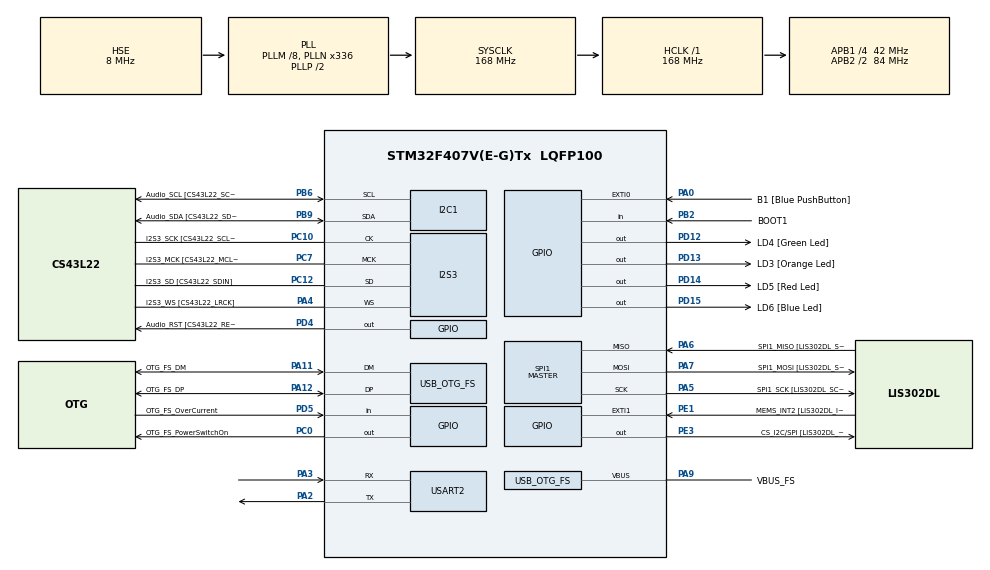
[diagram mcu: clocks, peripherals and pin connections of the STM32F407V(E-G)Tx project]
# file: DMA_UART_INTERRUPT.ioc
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I2S3.AudioFreq-Half_Duplex_Master=I2S_AUDIOFREQ_96K
I2S3.ErrorAudioFreq=-2.34 %
I2S3.ErrorAudioFreq-Half_Duplex_Master=0.8 %
I2S3.FullDuplexMode=I2S_FULLDUPLEXMODE_DISABLE
I2S3.Instance=SPI$Index
I2S3.RealAudioFreq=93.75 KHz
I2S3.RealAudioFreq-Half_Duplex_Master=96.774 KHz
I2S3.VirtualMode=I2S_MODE_MASTER
Mcu.Family=STM32F4
Mcu.Name=STM32F407V(E-G)Tx
Mcu.Package=LQFP100
NVIC.OTG_FS_IRQn=true\:0\:0\:false\:false\:true\:true\:true\:true
NVIC.PriorityGroup=NVIC_PRIORITYGROUP_0
PA0-WKUP.GPIO_Label=B1 [Blue PushButton]
PA0-WKUP.GPIO_ModeDefaultEXTI=GPIO_MODE_EVT_RISING
PA0-WKUP.GPIO_PuPd=GPIO_NOPULL
PA0-WKUP.Signal=GPXTI0
PA10.GPIO_Label=OTG_FS_ID
PA10.GPIO_Mode=GPIO_MODE_AF_PP
PA10.GPIO_PuPd=GPIO_NOPULL
PA10.GPIO_Speed=GPIO_SPEED_FREQ_LOW
PA10.Signal=USB_OTG_FS_ID
PA11.GPIO_Label=OTG_FS_DM
PA11.GPIO_Mode=GPIO_MODE_AF_PP
PA11.GPIO_PuPd=GPIO_NOPULL
PA11.GPIO_Speed=GPIO_SPEED_FREQ_LOW
PA11.Mode=Host_Only
PA11.Signal=USB_OTG_FS_DM
PA12.GPIO_Label=OTG_FS_DP
PA12.GPIO_Mode=GPIO_MODE_AF_PP
PA12.GPIO_PuPd=GPIO_NOPULL
PA12.GPIO_Speed=GPIO_SPEED_FREQ_LOW
PA12.Mode=Host_Only
PA12.Signal=USB_OTG_FS_DP
PA13.GPIO_Label=SWDIO
PA13.Mode=Serial_Wire
PA13.Signal=SYS_JTMS-SWDIO
PA14.GPIO_Label=SWCLK
PA14.Mode=Serial_Wire
PA14.Signal=SYS_JTCK-SWCLK
PA2.Mode=Asynchronous
PA2.Signal=USART2_TX
PA3.Mode=Asynchronous
PA3.Signal=USART2_RX
PA4.GPIO_Label=I2S3_WS [CS43L22_LRCK]
PA4.GPIO_Mode=GPIO_MODE_AF_PP
PA4.GPIO_PuPd=GPIO_NOPULL
PA4.GPIO_Speed=GPIO_SPEED_FREQ_LOW
PA4.Mode=Half_Duplex_Master
PA4.Signal=I2S3_WS
PA5.GPIO_Label=SPI1_SCK [LIS302DL_SCL/SPC]
PA5.GPIO_Mode=GPIO_MODE_AF_PP
PA5.GPIO_PuPd=GPIO_NOPULL
PA5.GPIO_Speed=GPIO_SPEED_FREQ_LOW
PA5.Mode=Full_Duplex_Master
PA5.Signal=SPI1_SCK
PA6.GPIO_Label=SPI1_MISO [LIS302DL_SDO]
PA6.GPIO_Mode=GPIO_MODE_AF_PP
PA6.GPIO_PuPd=GPIO_NOPULL
PA6.GPIO_Speed=GPIO_SPEED_FREQ_LOW
PA6.Mode=Full_Duplex_Master
PA6.Signal=SPI1_MISO
PA7.GPIO_Label=SPI1_MOSI [LIS302DL_SDA/SDI/SDO]
PA7.GPIO_Mode=GPIO_MODE_AF_PP
PA7.GPIO_PuPd=GPIO_NOPULL
PA7.GPIO_Speed=GPIO_SPEED_FREQ_LOW
PA7.Mode=Full_Duplex_Master
PA7.Signal=SPI1_MOSI
PA9.GPIO_Label=VBUS_FS
PA9.GPIO_Mode=GPIO_MODE_INPUT
PA9.GPIO_PuPd=GPIO_NOPULL
PA9.Mode=Activate_VBUS
PA9.Signal=USB_OTG_FS_VBUS
PB10.GPIO_Label=CLK_IN [MP45DT02_CLK]
PB10.GPIO_Mode=GPIO_MODE_AF_PP
PB10.GPIO_PuPd=GPIO_NOPULL
PB10.GPIO_Speed=GPIO_SPEED_FREQ_LOW
PB10.Signal=I2S2_CK
PB2.GPIO_Label=BOOT1
PB2.GPIO_Mode=GPIO_MODE_INPUT
PB2.GPIO_PuPd=GPIO_NOPULL
PB2.Signal=GPIO_Input
PB3.GPIO_Label=SWO
PB3.Signal=SYS_JTDO-SWO
PB6.GPIO_Label=Audio_SCL [CS43L22_SCL]
PB6.GPIO_Mode=GPIO_MODE_AF_OD
PB6.GPIO_Pu=GPIO_PULLUP
PB6.GPIO_PuPd=GPIO_NOPULL
PB6.GPIO_Speed=GPIO_SPEED_FREQ_LOW
PB6.Mode=I2C
PB6.Signal=I2C1_SCL
PB9.GPIO_Label=Audio_SDA [CS43L22_SDA]
PB9.GPIO_Mode=GPIO_MODE_AF_OD
PB9.GPIO_Pu=GPIO_PULLUP
PB9.GPIO_PuPd=GPIO_NOPULL
PB9.GPIO_Speed=GPIO_SPEED_FREQ_LOW
PB9.Mode=I2C
PB9.Signal=I2C1_SDA
PC0.GPIO_Label=OTG_FS_PowerSwitchOn
PC0.GPIO_PuPd=GPIO_NOPULL
PC0.GPIO_Speed=GPIO_SPEED_FREQ_LOW
PC0.PinState=GPIO_PIN_SET
PC0.Signal=GPIO_Output
PC10.GPIO_Label=I2S3_SCK [CS43L22_SCLK]
PC10.GPIO_Mode=GPIO_MODE_AF_PP
PC10.GPIO_PuPd=GPIO_NOPULL
PC10.GPIO_Speed=GPIO_SPEED_FREQ_LOW
PC10.Mode=Half_Duplex_Master
PC10.Signal=I2S3_CK
PC12.GPIO_Label=I2S3_SD [CS43L22_SDIN]
PC12.GPIO_Mode=GPIO_MODE_AF_PP
PC12.GPIO_PuPd=GPIO_NOPULL
PC12.GPIO_Speed=GPIO_SPEED_FREQ_LOW
PC12.Mode=Half_Duplex_Master
PC12.Signal=I2S3_SD
PC14-OSC32_IN.GPIO_Label=PC14-OSC32_IN
PC14-OSC32_IN.Mode=LSE-External-Oscillator
PC14-OSC32_IN.Signal=RCC_OSC32_IN
PC15-OSC32_OUT.GPIO_Label=PC15-OSC32_OUT
PC15-OSC32_OUT.Mode=LSE-External-Oscillator
PC15-OSC32_OUT.Signal=RCC_OSC32_OUT
PC3.GPIO_Label=PDM_OUT [MP45DT02_DOUT]
PC3.GPIO_Mode=GPIO_MODE_AF_PP
PC3.GPIO_PuPd=GPIO_NOPULL
PC3.GPIO_Speed=GPIO_SPEED_FREQ_LOW
PC3.Signal=I2S2_SD
PC7.GPIO_Label=I2S3_MCK [CS43L22_MCLK]
PC7.GPIO_Mode=GPIO_MODE_AF_PP
PC7.GPIO_PuPd=GPIO_NOPULL
PC7.GPIO_Speed=GPIO_SPEED_FREQ_LOW
PC7.Mode=Master_Clock_Activated
PC7.Signal=I2S3_MCK
PD12.GPIO_Label=LD4 [Green Led]
PD12.GPIO_PuPd=GPIO_NOPULL
PD12.GPIO_Speed=GPIO_SPEED_FREQ_LOW
PD12.Signal=GPIO_Output
PD13.GPIO_Label=LD3 [Orange Led]
PD13.GPIO_PuPd=GPIO_NOPULL
PD13.GPIO_Speed=GPIO_SPEED_FREQ_LOW
PD13.Signal=GPIO_Output
PD14.GPIO_Label=LD5 [Red Led]
PD14.GPIO_PuPd=GPIO_NOPULL
PD14.GPIO_Speed=GPIO_SPEED_FREQ_LOW
PD14.Signal=GPIO_Output
PD15.GPIO_Label=LD6 [Blue Led]
PD15.GPIO_PuPd=GPIO_NOPULL
PD15.GPIO_Speed=GPIO_SPEED_FREQ_LOW
PD15.Signal=GPIO_Output
PD4.GPIO_Label=Audio_RST [CS43L22_RESET]
PD4.GPIO_PuPd=GPIO_NOPULL
PD4.GPIO_Speed=GPIO_SPEED_FREQ_LOW
PD4.Signal=GPIO_Output
PD5.GPIO_Label=OTG_FS_OverCurrent
PD5.GPIO_Mode=GPIO_MODE_INPUT
PD5.GPIO_PuPd=GPIO_NOPULL
PD5.Signal=GPIO_Input
PE1.GPIO_Label=MEMS_INT2 [LIS302DL_INT2]
PE1.GPIO_ModeDefaultEXTI=GPIO_MODE_EVT_RISING
PE1.GPIO_PuPd=GPIO_NOPULL
PE1.Signal=GPXTI1
PE3.GPIO_Label=CS_I2C/SPI [LIS302DL_CS_I2C/SPI]
PE3.GPIO_PuPd=GPIO_NOPULL
PE3.GPIO_Speed=GPIO_SPEED_FREQ_LOW
PE3.Signal=GPIO_Output
PH0-OSC_IN.GPIO_Label=PH0-OSC_IN
PH0-OSC_IN.Mode=HSE-External-Oscillator
PH0-OSC_IN.Signal=RCC_OSC_IN
PH1-OSC_OUT.GPIO_Label=PH1-OSC_OUT
PH1-OSC_OUT.Mode=HSE-External-Oscillator
PH1-OSC_OUT.Signal=RCC_OSC_OUT
ProjectManager.HeapSize=0x200
ProjectManager.StackSize=0x400
ProjectManager.TargetToolchain=STM32CubeIDE
RCC.48MHZClocksFreq_Value=48000000
RCC.AHBFreq_Value=168000000
RCC.APB1CLKDivider=RCC_HCLK_DIV4
RCC.APB1Freq_Value=42000000
RCC.APB1TimFreq_Value=84000000
RCC.APB2CLKDivider=RCC_HCLK_DIV2
RCC.APB2Freq_Value=84000000
RCC.APB2TimFreq_Value=168000000
RCC.CortexFreq_Value=168000000
RCC.HCLKFreq_Value=168000000
RCC.HSE_VALUE=8000000
RCC.HSI_VALUE=16000000
RCC.PLLM=8
RCC.PLLN=336
RCC.PLLQ=7
RCC.SYSCLKFreq_VALUE=168000000
RCC.SYSCLKSource=RCC_SYSCLKSOURCE_PLLCLK
RCC.VCOOutputFreq_Value=336000000
SPI1.BaudRatePrescaler-Full_Duplex_Master=SPI_BAUDRATEPRESCALER_2
SPI1.CalculateBaudRate-Full_Duplex_Master=42.0 MBits/s
SPI1.Direction=SPI_DIRECTION_2LINES
SPI1.Mode=SPI_MODE_MASTER
SPI1.Mode-Full_Duplex_Master=SPI_MODE_MASTER
SPI1.VirtualType=VM_MASTER
USART2.VirtualMode=VM_ASYNC
USB_HOST.BSP.number=1
USB_HOST.USBH_HandleTypeDef-CDC_FS=hUsbHostFS
USB_HOST.VirtualModeFS=Cdc
USB_HOST0.BSP.STBoard=false
USB_HOST0.BSP.api=Unknown
USB_HOST0.BSP.instance=PC0
USB_HOST0.BSP.ip=GPIO
USB_HOST0.BSP.mode=Output
USB_HOST0.BSP.name=Drive_VBUS_FS
USB_HOST0.BSP.solution=PC0
USB_OTG_FS.VirtualMode=Host_Only
USB_OTG_FS.phy_itface=HCD_PHY_EMBEDDED
VP_USB_HOST_VS_USB_HOST_CDC_FS.Mode=CDC_FS
board=STM32F407G-DISC1

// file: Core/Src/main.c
/* USER CODE BEGIN Header */
/**
  ******************************************************************************
  * @file           : main.c
  * @brief          : Main program body
  ******************************************************************************
  * @attention
  *
  * Copyright (c) 2026 STMicroelectronics.
  * All rights reserved.
  *
  * This software is licensed under terms that can be found in the LICENSE file
  * in the root directory of this software component.
  * If no LICENSE file comes with this software, it is provided AS-IS.
  *
  ******************************************************************************
  */
/* USER CODE END Header */
#include "main.h"
#include "usb_host.h"

/* USER CODE BEGIN Includes */
#include<string.h>
/* USER CODE END Includes */

I2C_HandleTypeDef hi2c1;

I2S_HandleTypeDef hi2s3;

SPI_HandleTypeDef hspi1;

UART_HandleTypeDef huart2;

/* USER CODE BEGIN PV */
DMA_HandleTypeDef hdma_usart2_tx;
char msg[] = "HELLO STM32";
/* USER CODE END PV */

void SystemClock_Config(void);
static void MX_GPIO_Init(void);
static void MX_I2C1_Init(void);
static void MX_I2S3_Init(void);
static void MX_SPI1_Init(void);
static void MX_USART2_UART_Init(void);
void MX_USB_HOST_Process(void);

/* USER CODE BEGIN PFP */
void DMATransferComplate(DMA_HandleTypeDef *hdma);
/* USER CODE END PFP */

int main(void)
{

  /* MCU Configuration--------------------------------------------------------*/

  /* Reset of all peripherals, Initializes the Flash interface and the Systick. */
  HAL_Init();

  /* Configure the system clock */
  SystemClock_Config();

  /* Initialize all configured peripherals */
  MX_GPIO_Init();

  MX_I2C1_Init();
  MX_I2S3_Init();
  MX_SPI1_Init();
  MX_USART2_UART_Init();
  MX_USB_HOST_Init();
  /* USER CODE BEGIN 2 */
__HAL_RCC_DMA1_CLK_ENABLE();
hdma_usart2_tx.Instance = DMA1_Stream6;
hdma_usart2_tx.Init.Channel = DMA_CHANNEL_4;
hdma_usart2_tx.Init.Direction = DMA_MEMORY_TO_PERIPH;
hdma_usart2_tx.Init.PeriphInc = DMA_PINC_DISABLE;
hdma_usart2_tx.Init.PeriphDataAlignment =DMA_PDATAALIGN_BYTE;
hdma_usart2_tx.Init.MemDataAlignment = DMA_MDATAALIGN_BYTE;
hdma_usart2_tx.Init.Mode = DMA_NORMAL;
hdma_usart2_tx.Init.Priority = DMA_PRIORITY_LOW;
hdma_usart2_tx.Init.FIFOMode = DMA_FIFOMODE_DISABLE;
hdma_usart2_tx.Init.MemInc = DMA_MINC_ENABLE;
hdma_usart2_tx.XferCpltCallback = DMATransferComplate;
HAL_DMA_Init(&hdma_usart2_tx);
HAL_NVIC_SetPriority(DMA1_Stream6_IRQn,0,0);
HAL_NVIC_EnableIRQ(DMA1_Stream6_IRQn);
HAL_DMA_Start_IT(&hdma_usart2_tx,(uint32_t)msg,(uint32_t)&huart2.Instance->DR,strlen(msg));
huart2.Instance->CR3 |= USART_CR3_DMAT;
  /* USER CODE END 2 */

  /* Infinite loop */
  while (1)
  {
    MX_USB_HOST_Process();

  }
}

void SystemClock_Config(void)
{
  RCC_OscInitTypeDef RCC_OscInitStruct = {0};
  RCC_ClkInitTypeDef RCC_ClkInitStruct = {0};

  /** Configure the main internal regulator output voltage
  */
  __HAL_RCC_PWR_CLK_ENABLE();
  __HAL_PWR_VOLTAGESCALING_CONFIG(PWR_REGULATOR_VOLTAGE_SCALE1);

  /** Initializes the RCC Oscillators according to the specified parameters
  * in the RCC_OscInitTypeDef structure.
  */
  RCC_OscInitStruct.OscillatorType = RCC_OSCILLATORTYPE_HSE;
  RCC_OscInitStruct.HSEState = RCC_HSE_ON;
  RCC_OscInitStruct.PLL.PLLState = RCC_PLL_ON;
  RCC_OscInitStruct.PLL.PLLSource = RCC_PLLSOURCE_HSE;
  RCC_OscInitStruct.PLL.PLLM = 8;
  RCC_OscInitStruct.PLL.PLLN = 336;
  RCC_OscInitStruct.PLL.PLLP = RCC_PLLP_DIV2;
  RCC_OscInitStruct.PLL.PLLQ = 7;
  if (HAL_RCC_OscConfig(&RCC_OscInitStruct) != HAL_OK)
  {
    Error_Handler();
  }

  /** Initializes the CPU, AHB and APB buses clocks
  */
  RCC_ClkInitStruct.ClockType = RCC_CLOCKTYPE_HCLK|RCC_CLOCKTYPE_SYSCLK
                              |RCC_CLOCKTYPE_PCLK1|RCC_CLOCKTYPE_PCLK2;
  RCC_ClkInitStruct.SYSCLKSource = RCC_SYSCLKSOURCE_PLLCLK;
  RCC_ClkInitStruct.AHBCLKDivider = RCC_SYSCLK_DIV1;
  RCC_ClkInitStruct.APB1CLKDivider = RCC_HCLK_DIV4;
  RCC_ClkInitStruct.APB2CLKDivider = RCC_HCLK_DIV2;

  if (HAL_RCC_ClockConfig(&RCC_ClkInitStruct, FLASH_LATENCY_5) != HAL_OK)
  {
    Error_Handler();
  }
}

static void MX_I2C1_Init(void)
{

  hi2c1.Instance = I2C1;
  hi2c1.Init.ClockSpeed = 100000;
  hi2c1.Init.DutyCycle = I2C_DUTYCYCLE_2;
  hi2c1.Init.OwnAddress1 = 0;
  hi2c1.Init.AddressingMode = I2C_ADDRESSINGMODE_7BIT;
  hi2c1.Init.DualAddressMode = I2C_DUALADDRESS_DISABLE;
  hi2c1.Init.OwnAddress2 = 0;
  hi2c1.Init.GeneralCallMode = I2C_GENERALCALL_DISABLE;
  hi2c1.Init.NoStretchMode = I2C_NOSTRETCH_DISABLE;
  if (HAL_I2C_Init(&hi2c1) != HAL_OK)
  {
    Error_Handler();
  }

}

static void MX_I2S3_Init(void)
{

  hi2s3.Instance = SPI3;
  hi2s3.Init.Mode = I2S_MODE_MASTER_TX;
  hi2s3.Init.Standard = I2S_STANDARD_PHILIPS;
  hi2s3.Init.DataFormat = I2S_DATAFORMAT_16B;
  hi2s3.Init.MCLKOutput = I2S_MCLKOUTPUT_ENABLE;
  hi2s3.Init.AudioFreq = I2S_AUDIOFREQ_96K;
  hi2s3.Init.CPOL = I2S_CPOL_LOW;
  hi2s3.Init.ClockSource = I2S_CLOCK_PLL;
  hi2s3.Init.FullDuplexMode = I2S_FULLDUPLEXMODE_DISABLE;
  if (HAL_I2S_Init(&hi2s3) != HAL_OK)
  {
    Error_Handler();
  }

}

static void MX_SPI1_Init(void)
{

  /* SPI1 parameter configuration*/
  hspi1.Instance = SPI1;
  hspi1.Init.Mode = SPI_MODE_MASTER;
  hspi1.Init.Direction = SPI_DIRECTION_2LINES;
  hspi1.Init.DataSize = SPI_DATASIZE_8BIT;
  hspi1.Init.CLKPolarity = SPI_POLARITY_LOW;
  hspi1.Init.CLKPhase = SPI_PHASE_1EDGE;
  hspi1.Init.NSS = SPI_NSS_SOFT;
  hspi1.Init.BaudRatePrescaler = SPI_BAUDRATEPRESCALER_2;
  hspi1.Init.FirstBit = SPI_FIRSTBIT_MSB;
  hspi1.Init.TIMode = SPI_TIMODE_DISABLE;
  hspi1.Init.CRCCalculation = SPI_CRCCALCULATION_DISABLE;
  hspi1.Init.CRCPolynomial = 10;
  if (HAL_SPI_Init(&hspi1) != HAL_OK)
  {
    Error_Handler();
  }

}

static void MX_USART2_UART_Init(void)
{

  huart2.Instance = USART2;
  huart2.Init.BaudRate = 115200;
  huart2.Init.WordLength = UART_WORDLENGTH_8B;
  huart2.Init.StopBits = UART_STOPBITS_1;
  huart2.Init.Parity = UART_PARITY_NONE;
  huart2.Init.Mode = UART_MODE_TX_RX;
  huart2.Init.HwFlowCtl = UART_HWCONTROL_NONE;
  huart2.Init.OverSampling = UART_OVERSAMPLING_16;

  if (HAL_UART_Init(&huart2) != HAL_OK)
  {
    Error_Handler();
  }

}

static void MX_GPIO_Init(void)
{
  GPIO_InitTypeDef GPIO_InitStruct = {0};

  /* GPIO Ports Clock Enable */
  __HAL_RCC_GPIOE_CLK_ENABLE();
  __HAL_RCC_GPIOC_CLK_ENABLE();
  __HAL_RCC_GPIOH_CLK_ENABLE();
  __HAL_RCC_GPIOA_CLK_ENABLE();
  __HAL_RCC_GPIOB_CLK_ENABLE();
  __HAL_RCC_GPIOD_CLK_ENABLE();

  /*Configure GPIO pin Output Level */
  HAL_GPIO_WritePin(CS_I2C_SPI_GPIO_Port, CS_I2C_SPI_Pin, GPIO_PIN_RESET);

  /*Configure GPIO pin Output Level */
  HAL_GPIO_WritePin(OTG_FS_PowerSwitchOn_GPIO_Port, OTG_FS_PowerSwitchOn_Pin, GPIO_PIN_SET);

  /*Configure GPIO pin Output Level */
  HAL_GPIO_WritePin(GPIOD, LD4_Pin|LD3_Pin|LD5_Pin|LD6_Pin
                          |Audio_RST_Pin, GPIO_PIN_RESET);

  /*Configure GPIO pin : CS_I2C_SPI_Pin */
  GPIO_InitStruct.Pin = CS_I2C_SPI_Pin;
  GPIO_InitStruct.Mode = GPIO_MODE_OUTPUT_PP;
  GPIO_InitStruct.Pull = GPIO_NOPULL;
  GPIO_InitStruct.Speed = GPIO_SPEED_FREQ_LOW;
  HAL_GPIO_Init(CS_I2C_SPI_GPIO_Port, &GPIO_InitStruct);

  /*Configure GPIO pin : OTG_FS_PowerSwitchOn_Pin */
  GPIO_InitStruct.Pin = OTG_FS_PowerSwitchOn_Pin;
  GPIO_InitStruct.Mode = GPIO_MODE_OUTPUT_PP;
  GPIO_InitStruct.Pull = GPIO_NOPULL;
  GPIO_InitStruct.Speed = GPIO_SPEED_FREQ_LOW;
  HAL_GPIO_Init(OTG_FS_PowerSwitchOn_GPIO_Port, &GPIO_InitStruct);

  /*Configure GPIO pin : PDM_OUT_Pin */
  GPIO_InitStruct.Pin = PDM_OUT_Pin;
  GPIO_InitStruct.Mode = GPIO_MODE_AF_PP;
  GPIO_InitStruct.Pull = GPIO_NOPULL;
  GPIO_InitStruct.Speed = GPIO_SPEED_FREQ_LOW;
  GPIO_InitStruct.Alternate = GPIO_AF5_SPI2;
  HAL_GPIO_Init(PDM_OUT_GPIO_Port, &GPIO_InitStruct);

  /*Configure GPIO pin : B1_Pin */
  GPIO_InitStruct.Pin = B1_Pin;
  GPIO_InitStruct.Mode = GPIO_MODE_EVT_RISING;
  GPIO_InitStruct.Pull = GPIO_NOPULL;
  HAL_GPIO_Init(B1_GPIO_Port, &GPIO_InitStruct);

  /*Configure GPIO pin : BOOT1_Pin */
  GPIO_InitStruct.Pin = BOOT1_Pin;
  GPIO_InitStruct.Mode = GPIO_MODE_INPUT;
  GPIO_InitStruct.Pull = GPIO_NOPULL;
  HAL_GPIO_Init(BOOT1_GPIO_Port, &GPIO_InitStruct);

  /*Configure GPIO pin : CLK_IN_Pin */
  GPIO_InitStruct.Pin = CLK_IN_Pin;
  GPIO_InitStruct.Mode = GPIO_MODE_AF_PP;
  GPIO_InitStruct.Pull = GPIO_NOPULL;
  GPIO_InitStruct.Speed = GPIO_SPEED_FREQ_LOW;
  GPIO_InitStruct.Alternate = GPIO_AF5_SPI2;
  HAL_GPIO_Init(CLK_IN_GPIO_Port, &GPIO_InitStruct);

  /*Configure GPIO pins : LD4_Pin LD3_Pin LD5_Pin LD6_Pin
                           Audio_RST_Pin */
  GPIO_InitStruct.Pin = LD4_Pin|LD3_Pin|LD5_Pin|LD6_Pin
                          |Audio_RST_Pin;
  GPIO_InitStruct.Mode = GPIO_MODE_OUTPUT_PP;
  GPIO_InitStruct.Pull = GPIO_NOPULL;
  GPIO_InitStruct.Speed = GPIO_SPEED_FREQ_LOW;
  HAL_GPIO_Init(GPIOD, &GPIO_InitStruct);

  /*Configure GPIO pin : OTG_FS_OverCurrent_Pin */
  GPIO_InitStruct.Pin = OTG_FS_OverCurrent_Pin;
  GPIO_InitStruct.Mode = GPIO_MODE_INPUT;
  GPIO_InitStruct.Pull = GPIO_NOPULL;
  HAL_GPIO_Init(OTG_FS_OverCurrent_GPIO_Port, &GPIO_InitStruct);

  /*Configure GPIO pin : MEMS_INT2_Pin */
  GPIO_InitStruct.Pin = MEMS_INT2_Pin;
  GPIO_InitStruct.Mode = GPIO_MODE_EVT_RISING;
  GPIO_InitStruct.Pull = GPIO_NOPULL;
  HAL_GPIO_Init(MEMS_INT2_GPIO_Port, &GPIO_InitStruct);

}

/* USER CODE BEGIN 4 */
void DMATransferComplate(DMA_HandleTypeDef *hdma){
	if(hdma->Instance == DMA1_Stream6){
		huart2.Instance->CR3 &= ~USART_CR3_DMAT;
		HAL_GPIO_WritePin(GPIOD,LD3_Pin,GPIO_PIN_SET);
	}
}
/* USER CODE END 4 */

void Error_Handler(void)
{
  __disable_irq();
  while (1)
  {
  }
}
